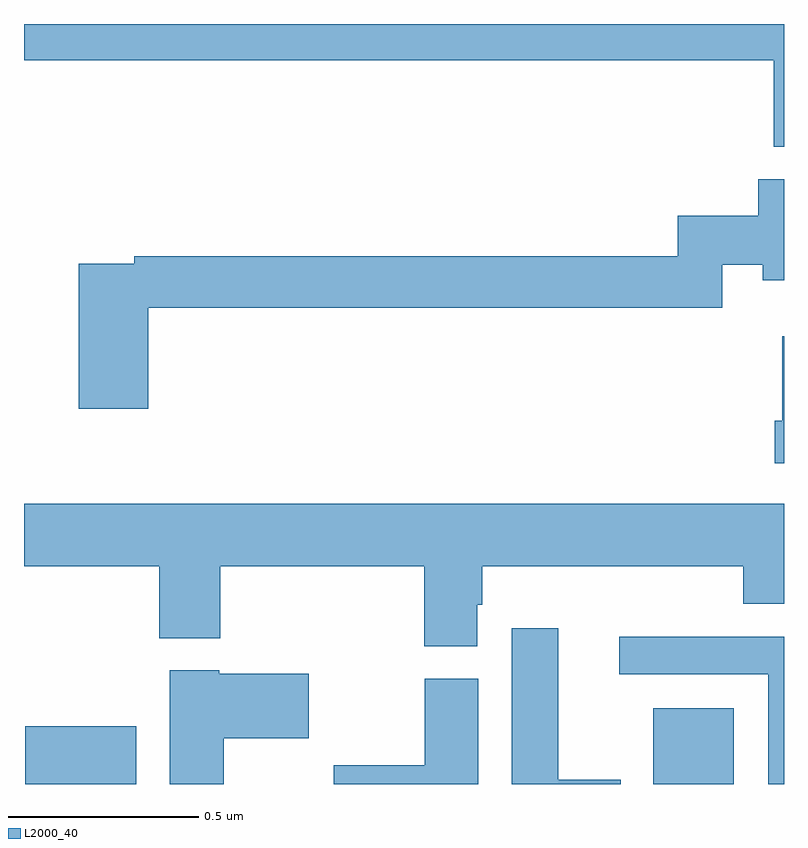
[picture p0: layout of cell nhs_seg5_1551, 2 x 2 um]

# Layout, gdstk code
import gdstk
lib = gdstk.Library(unit=1e-6, precision=1e-09)
def R(c, l, rs):  # rectangles x0, y0, x1, y1
    for r in rs: c.add(gdstk.rectangle(r[:2], r[2:], *l))
def P(c, l, *ps):  # polygons
    for p in ps: c.add(gdstk.Polygon(p, *l))
L2000_40 = (2000, 40)

nhs_seg5_1551 = lib.new_cell('nhs_seg5_1551')
R(nhs_seg5_1551, L2000_40, [(131.003,910.799,131.296,910.951), (132.656,910.799,132.868,910.999)])
P(nhs_seg5_1551, L2000_40, [(133,912.799),(131,912.799),(131,912.704),(132.973,912.704),(132.973,912.476),(133,912.476)],
  [(131.327,912.052),(132.837,912.052),(132.837,912.166),(132.944,912.166),(132.944,912.125),(133,912.125),(133,912.391),(132.932,912.391),(132.932,912.295),(132.721,912.295),(132.721,912.188),(131.29,912.188),(131.29,912.168),(131.144,912.168),(131.144,911.787),(131.327,911.787)],
  [(133,911.977),(132.996,911.977),(132.996,911.755),(132.976,911.755),(132.976,911.643),(133,911.643)],
  [(132.193,911.271),(132.206,911.271),(132.206,911.372),(132.893,911.372),(132.893,911.273),(133,911.273),(133,911.536),(131,911.536),(131,911.372),(131.356,911.372),(131.356,911.183),(131.516,911.183),(131.516,911.372),(132.053,911.372),(132.053,911.161),(132.193,911.161)],
  [(132.571,910.81),(132.406,910.81),(132.406,911.209),(132.284,911.209),(132.284,910.799),(132.571,910.799)],
  [(133,911.186),(132.567,911.186),(132.567,911.088),(132.959,911.088),(132.959,910.799),(133,910.799)],
  [(131.526,910.919),(131.749,910.919),(131.749,911.089),(131.514,911.089),(131.514,911.098),(131.384,911.098),(131.384,910.799),(131.526,910.799)],
  [(132.196,911.076),(132.055,911.076),(132.055,910.849),(131.815,910.849),(131.815,910.799),(132.196,910.799)])

lib.write_gds('nhs_seg5_1551.gds')
